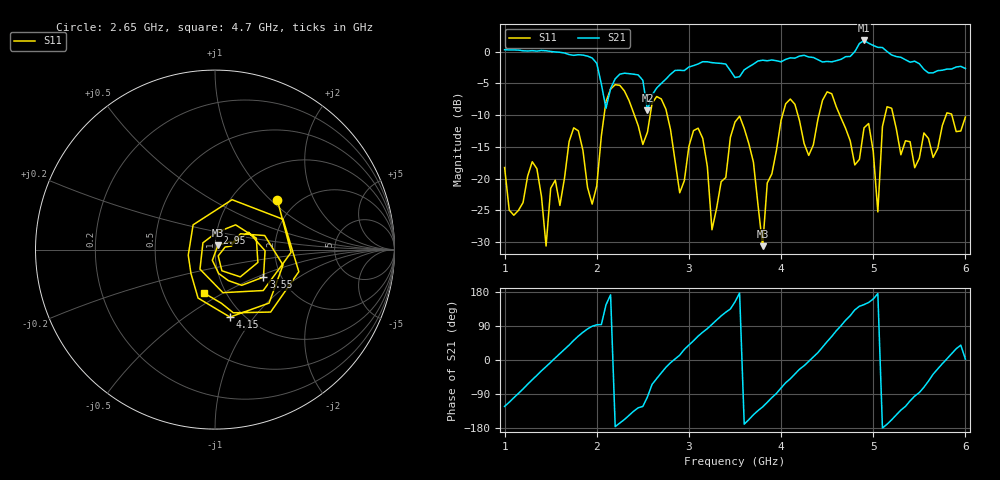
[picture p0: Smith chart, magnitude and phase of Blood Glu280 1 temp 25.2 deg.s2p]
! NanoVNA-App
! Date: 2024-03-21 18:09:35
! Start: 1GHz Stop: 6GHz Points: 101
! S-Parameter data: F S11 S21 S12 S22
# Hz S RI R 50
!	Frequency	S11_Real	S11_Imag	S21_Real	S21_Imag	S12_Real	S12_Imag	S22_Real	S22_Imag
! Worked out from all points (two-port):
!   101 points, 1 GHz to 6 GHz, reference 50 ohm
!   highest |S21| = 1.78 dB at 4.9 GHz (marker M1); lowest = -9.2 dB at 2.55 GHz (marker M2)
!   |S21| within 3 dB of the highest: start of sweep to 1.964 GHz; 4.646 GHz to 5.344 GHz (697.9 MHz wide, 14 % of centre)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
!   lowest |S11| = -30.7 dB at 3.8 GHz (marker M3), VSWR 1.06, Z = 51.6 + j2.51 ohm
!   |S11| at or under -10 dB: start of sweep to 2.08 GHz; 2.765 GHz to 4.016 GHz (1.251 GHz wide, 36.9 % of centre); 5.217 GHz to 5.791 GHz (573.8 MHz wide, 10.4 % of centre)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
!   S12 and S22 are empty: the file has one direction only
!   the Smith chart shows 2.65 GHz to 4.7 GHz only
!   S11 on the Smith chart (normalised r, x): 2.65 GHz: 1.60, +1.10; 2.95 GHz: 1.00, +0.19; 3.55 GHz: 1.62, -0.55; 4.15 GHz: 0.87, -0.77; 4.7 GHz: 0.79, -0.41
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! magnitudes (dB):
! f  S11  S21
! 1 GHz  -18.3  0.3
! 1.35 GHz  -18.4  0.1
! 1.45 GHz  -30.7  0.2
! 1.85 GHz  -15.6  -0.5
! 2.2 GHz  -5.2  -4.3
! 2.55 GHz  -12.7  -9.2
! 2.65 GHz  -7.1  -5.7
! 2.7 GHz  -7.4  -5.0
! 2.95 GHz  -20.4  -3.0
! 3.1 GHz  -12.1  -1.9
! 3.25 GHz  -28.1  -1.7
! 3.5 GHz  -11.1  -4.1
! 3.55 GHz  -10.2  -3.9
! 3.8 GHz  -30.7  -1.3
! 4.15 GHz  -8.3  -1.0
! 4.35 GHz  -14.7  -0.9
! 4.7 GHz  -12.1  -0.8
! 4.9 GHz  -12.0  1.8
! 5.05 GHz  -25.3  0.7
! 5.2 GHz  -8.9  -0.5
! 5.45 GHz  -18.3  -1.5
! 6 GHz  -10.3  -2.6
